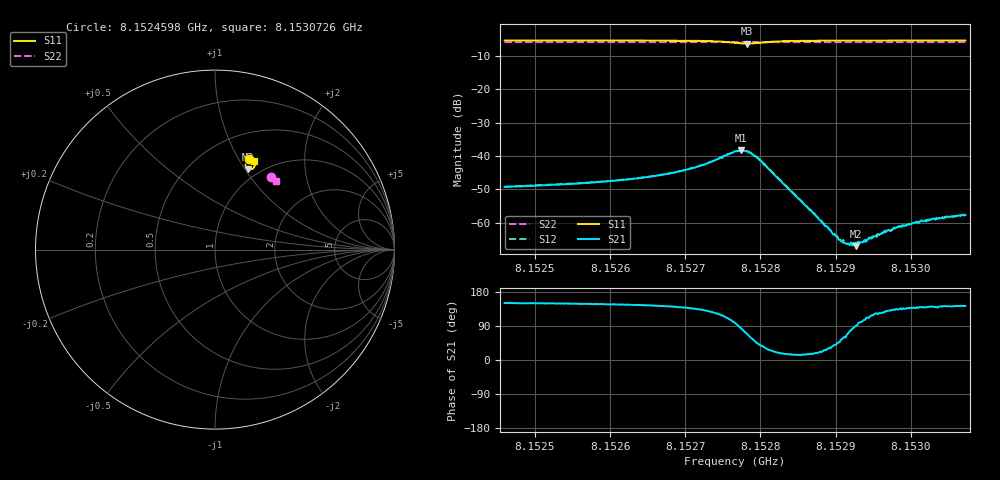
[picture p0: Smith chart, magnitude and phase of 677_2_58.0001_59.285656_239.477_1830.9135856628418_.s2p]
#  HZ  S  RI  R  50.00
! Rohde & Schwarz Vector Network Analyzer
! Rohde-Schwarz,ZNB20-2Port,1311601062101988,3.16
! Created: UTC 3/21/2024, 1:20:42 AM
! freq[Hz]  re:S11  im:S11  re:S21  im:S21  re:S12  im:S12  re:S22  im:S22
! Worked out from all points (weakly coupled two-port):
!   401 points, 8.1524598 GHz to 8.1530726 GHz, reference 50 ohm
!   highest |S21| = -38.35 dB at 8.1527739 GHz (marker M1); lowest = -67.1 dB at 8.1529271 GHz (marker M2)
!   lowest |S11| = -6.3 dB at 8.1527815 GHz (marker M3), VSWR 2.88, Z = 44.2 + j51.9 ohm
!   |S11| at or under -10 dB: nowhere
!   |S22| runs from -5.9 to -5.8 dB; largest |S21 - S12| = 0.00041
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8.1524598e9  0.1886 0.5067  -0.00298 0.00169  -0.003 0.00176  0.3093 0.4069
8.15256244e9  0.1974 0.5032  -0.0033 0.00206  -0.00329 0.0021  0.3144 0.4029
8.15262066e9  0.2033 0.5003  -0.00364 0.00245  -0.00364 0.00252  0.3174 0.4004
8.15266509e9  0.2088 0.4967  -0.00408 0.00307  -0.00407 0.00315  0.3196 0.3985
8.15271718e9  0.2176 0.4871  -0.0048 0.00502  -0.00482 0.00511  0.3221 0.3959
8.1527662e9  0.2112 0.452  -0.00169 0.0115  -0.00143 0.0115  0.3238 0.3928
8.15277387e9  0.1995 0.4468  0.0012 0.012  0.00116 0.012  0.3237 0.3926
8.15278153e9  0.1854 0.4483  0.00401 0.011  0.00405 0.0112  0.3234 0.3924
8.15278919e9  0.174 0.4567  0.00589 0.00875  0.00604 0.0089  0.3236 0.3928
8.15279838e9  0.1687 0.4704  0.00667 0.00574  0.00675 0.00572  0.3241 0.393
8.15286885e9  0.1934 0.4994  0.00141 0.000398  0.00141 0.000414  0.3287 0.3908
8.15290715e9  0.2006 0.4995  0.000315 0.000424  0.000342 0.000425  0.3305 0.389
8.15291635e9  0.2023 0.4992  0.000173 0.000455  0.000171 0.000447  0.331 0.3888
8.15292707e9  0.2037 0.499  -5.56e-07 0.000442  -2.13e-05 0.000495  0.3316 0.3882
8.15293626e9  0.2048 0.4988  -0.000111 0.000491  -0.000146 0.000496  0.3322 0.3879
8.15296231e9  0.208 0.4982  -0.000389 0.000573  -0.000408 0.000582  0.3333 0.3867
8.1529715e9  0.209 0.498  -0.000493 0.000585  -0.000477 0.000608  0.3338 0.3862
8.15298529e9  0.2103 0.4975  -0.000612 0.000623  -0.000598 0.000627  0.3345 0.3858
8.15301133e9  0.2129 0.4968  -0.000784 0.000664  -0.000743 0.000683  0.3358 0.3845
8.15301899e9  0.2136 0.4965  -0.000796 0.000697  -0.000822 0.000692  0.3362 0.3844
8.15305117e9  0.2166 0.4956  -0.000953 0.000751  -0.000947 0.000779  0.3377 0.3829
8.15307262e9  0.2183 0.495  -0.00103 0.000782  -0.00101 0.000838  0.3386 0.3819
